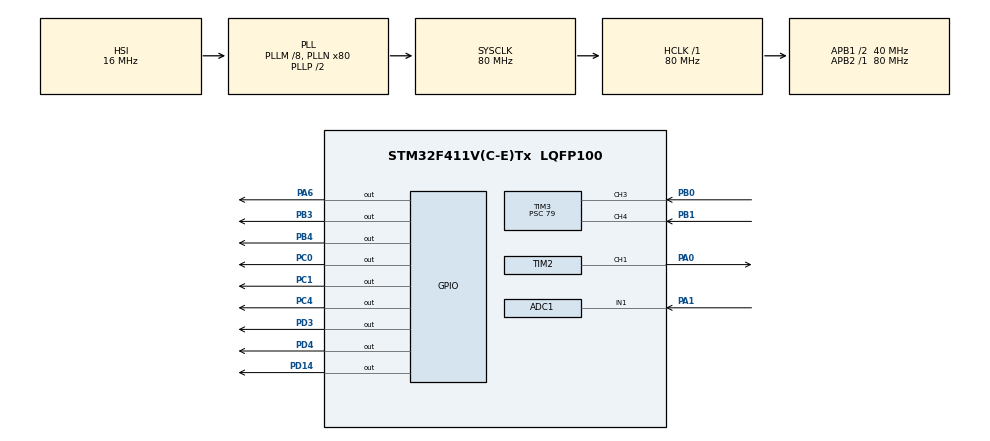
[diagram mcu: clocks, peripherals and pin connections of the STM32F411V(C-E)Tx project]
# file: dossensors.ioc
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ADC1.Channel-0\#ChannelRegularConversion=ADC_CHANNEL_1
ADC1.ContinuousConvMode=ENABLE
ADC1.DMAContinuousRequests=ENABLE
ADC1.NbrOfConversionFlag=1
ADC1.Rank-0\#ChannelRegularConversion=1
ADC1.SamplingTime-0\#ChannelRegularConversion=ADC_SAMPLETIME_28CYCLES
ADC1.master=1
Dma.ADC1.0.Direction=DMA_PERIPH_TO_MEMORY
Dma.ADC1.0.FIFOMode=DMA_FIFOMODE_DISABLE
Dma.ADC1.0.Instance=DMA2_Stream0
Dma.ADC1.0.MemDataAlignment=DMA_MDATAALIGN_WORD
Dma.ADC1.0.MemInc=DMA_MINC_ENABLE
Dma.ADC1.0.Mode=DMA_CIRCULAR
Dma.ADC1.0.PeriphDataAlignment=DMA_PDATAALIGN_WORD
Dma.ADC1.0.PeriphInc=DMA_PINC_DISABLE
Dma.ADC1.0.Priority=DMA_PRIORITY_LOW
Dma.Request0=ADC1
Mcu.Family=STM32F4
Mcu.Name=STM32F411V(C-E)Tx
Mcu.Package=LQFP100
NVIC.ADC_IRQn=true\:0\:0\:false\:false\:true\:true\:true\:true
NVIC.DMA2_Stream0_IRQn=true\:0\:0\:false\:false\:true\:false\:true\:true
NVIC.PriorityGroup=NVIC_PRIORITYGROUP_0
NVIC.TIM3_IRQn=true\:0\:0\:false\:false\:true\:true\:true\:true
PA0-WKUP.Signal=S_TIM2_CH1_ETR
PA1.Signal=ADCx_IN1
PA6.Signal=GPIO_Output
PB0.Signal=S_TIM3_CH3
PB1.Signal=S_TIM3_CH4
PB3.Signal=GPIO_Output
PB4.Signal=GPIO_Output
PC0.Signal=GPIO_Output
PC1.Signal=GPIO_Output
PC4.Signal=GPIO_Output
PD14.Signal=GPIO_Output
PD3.Signal=GPIO_Output
PD4.Signal=GPIO_Output
ProjectManager.HeapSize=0x200
ProjectManager.StackSize=0x400
ProjectManager.TargetToolchain=STM32CubeIDE
RCC.48MHZClocksFreq_Value=20000000
RCC.AHBFreq_Value=80000000
RCC.APB1CLKDivider=RCC_HCLK_DIV2
RCC.APB1Freq_Value=40000000
RCC.APB1TimFreq_Value=80000000
RCC.APB2Freq_Value=80000000
RCC.APB2TimFreq_Value=80000000
RCC.CortexFreq_Value=80000000
RCC.HCLKFreq_Value=80000000
RCC.HSE_VALUE=8000000
RCC.HSI_VALUE=16000000
RCC.LSE_VALUE=32768
RCC.PLLI2SM=5
RCC.PLLI2SN=200
RCC.PLLM=8
RCC.PLLN=80
RCC.PLLQ=8
RCC.SYSCLKFreq_VALUE=80000000
RCC.SYSCLKSource=RCC_SYSCLKSOURCE_PLLCLK
RCC.VCOOutputFreq_Value=160000000
SH.ADCx_IN1.0=ADC1_IN1,IN1
SH.S_TIM2_CH1_ETR.0=TIM2_CH1,PWM Generation1 CH1
SH.S_TIM3_CH3.0=TIM3_CH3,Input_Capture3_from_TI3
SH.S_TIM3_CH4.0=TIM3_CH4,Input_Capture4_from_TI4
TIM2.Channel-PWM\ Generation1\ CH1=TIM_CHANNEL_1
TIM2.Period=20000-1
TIM2.Prescaler=79
TIM3.Channel-Input_Capture3_from_TI3=TIM_CHANNEL_3
TIM3.Channel-Input_Capture4_from_TI4=TIM_CHANNEL_4
TIM3.Period=0xFFFF
TIM3.Prescaler=79
VP_TIM2_VS_ClockSourceINT.Mode=Internal
VP_TIM3_VS_ClockSourceINT.Mode=Internal
board=STM32F411E-DISCO

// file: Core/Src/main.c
/* USER CODE BEGIN Header */
/**
  ******************************************************************************
  * @file           : main.c
  * @brief          : Main program body
  ******************************************************************************
  * @attention
  *
  * Copyright (c) 2025 STMicroelectronics.
  * All rights reserved.
  *
  * This software is licensed under terms that can be found in the LICENSE file
  * in the root directory of this software component.
  * If no LICENSE file comes with this software, it is provided AS-IS.
  *
  ******************************************************************************
  */
/* USER CODE END Header */
#include "main.h"

ADC_HandleTypeDef hadc1;
DMA_HandleTypeDef hdma_adc1;

TIM_HandleTypeDef htim2;
TIM_HandleTypeDef htim3;

/* USER CODE BEGIN PV */
uint32_t adc_buffer[1]; // Buffer para almacenar los valores de ADC

TIM_HandleTypeDef htim2;
TIM_HandleTypeDef htim3;

/* USER CODE BEGIN PV */

/* USER CODE END PV */

void SystemClock_Config(void);
static void MX_GPIO_Init(void);
static void MX_DMA_Init(void);
static void MX_TIM3_Init(void);
static void MX_TIM2_Init(void);
static void MX_ADC1_Init(void);

/* USER CODE BEGIN 0 */
volatile uint32_t valor1 = 0, valor2 = 0, periodo = 0;
volatile uint8_t es_pv = 0;
int distancia = 0;

volatile uint32_t valor1s = 0, valor2s = 0, periodos = 0;
volatile uint8_t es_pvs = 0;
int distanciaSalida = 0;

int angulo=0;

/**
 * @brief Callback de interrupción para la captura de pulsos de los timers.
 * @param htim Puntero al handler del timer que genera la interrupción.
 */

void HAL_TIM_IC_CaptureCallback(TIM_HandleTypeDef *htim) {
    if (htim->Channel == HAL_TIM_ACTIVE_CHANNEL_4) {
        if (es_pv == 0) {
            valor1 = HAL_TIM_ReadCapturedValue(htim, TIM_CHANNEL_4);// Captura el primer valor (flanco de subida)
            es_pv = 1;
            __HAL_TIM_SET_CAPTUREPOLARITY(htim, TIM_CHANNEL_4, TIM_INPUTCHANNELPOLARITY_FALLING);// Cambia al flanco de bajada
        } else {
            valor2 = HAL_TIM_ReadCapturedValue(htim, TIM_CHANNEL_4);// Captura el segundo valor (flanco de bajada)
            __HAL_TIM_SET_COUNTER(htim, 0);// Reinicia el contador del timer
            if (valor2 > valor1) {
                periodo = valor2 - valor1;//Calcula el periodo.
            }
            es_pv = 0;
            __HAL_TIM_SET_CAPTUREPOLARITY(htim, TIM_CHANNEL_4, TIM_INPUTCHANNELPOLARITY_RISING);// Vuelve a cambiar al flanco de subida
        }
    }else if (htim->Channel == HAL_TIM_ACTIVE_CHANNEL_3) {
        if (es_pvs == 0) {
            valor1s = HAL_TIM_ReadCapturedValue(htim, TIM_CHANNEL_3);
            es_pvs = 1;
            __HAL_TIM_SET_CAPTUREPOLARITY(htim, TIM_CHANNEL_3, TIM_INPUTCHANNELPOLARITY_FALLING);
        } else {
            valor2s = HAL_TIM_ReadCapturedValue(htim, TIM_CHANNEL_3);
            __HAL_TIM_SET_COUNTER(htim, 0);
            if (valor2s > valor1s) {
                periodos = valor2s - valor1s;
            }
            es_pvs = 0;
            __HAL_TIM_SET_CAPTUREPOLARITY(htim, TIM_CHANNEL_3, TIM_INPUTCHANNELPOLARITY_RISING);
        }
    }
}
/**
 * @brief Genera un pulso para activar los sensores ultrasonido de entrada y salida.
 */
void Trigger_HCSR04(void) {
    HAL_GPIO_WritePin(GPIOC, GPIO_PIN_4, GPIO_PIN_SET);
    HAL_Delay(10);
    HAL_GPIO_WritePin(GPIOC, GPIO_PIN_4, GPIO_PIN_RESET);
}
void Trigger_HCSR04Salida(void) {
    HAL_GPIO_WritePin(GPIOA, GPIO_PIN_6, GPIO_PIN_SET);
    HAL_Delay(10);
    HAL_GPIO_WritePin(GPIOA, GPIO_PIN_6, GPIO_PIN_RESET);
}
/**
 * @brief Calcula la distancia detectada por los sensores de entrada y salida.
 */

void CalcularDistancia(void) {
    distancia = periodo / 58;
}
void CalcularDistanciaSalida(void) {
    distanciaSalida = periodos / 58;
}
/**
 * @brief Mueve el motor a un ángulo específico.
 * @param angulo Ángulo al que se desea mover el motor (0-180 grados).
 */

void mover_motor(int angulo) {
      int pulso_min = 500;
      int pulso_max = 2500;

      int pulso = pulso_min + ((pulso_max - pulso_min) * angulo) / 180;

      int periodo_timer = 20000;// Periodo del PWM en microsegundos porque el motor funciona a 50Hz
      int compare_value = (pulso * __HAL_TIM_GET_AUTORELOAD(&htim2)) / periodo_timer;// Calcula el valor de comparación

      __HAL_TIM_SET_COMPARE(&htim2, TIM_CHANNEL_1, compare_value);// Actualiza el valor del pulso
  }

/* USER CODE END 0 */

int main(void)
{

  /* MCU Configuration--------------------------------------------------------*/

  /* Reset of all peripherals, Initializes the Flash interface and the Systick. */
  HAL_Init();

  /* Configure the system clock */
  SystemClock_Config();

  /* Initialize all configured peripherals */
  MX_GPIO_Init();
  MX_DMA_Init();
  MX_TIM3_Init();
  MX_TIM2_Init();
  MX_ADC1_Init();
  /* USER CODE BEGIN 2 */
  HAL_TIM_IC_Start_IT(&htim3, TIM_CHANNEL_4);// Habilita la captura de entrada con interrupción (sensor de entrada)
  HAL_TIM_IC_Start_IT(&htim3, TIM_CHANNEL_3);// Habilita la captura de entrada con interrupción (sensor de salida)
  HAL_TIM_PWM_Start(&htim2, TIM_CHANNEL_1);// Inicia el PWM para el motor
  HAL_ADC_Start_DMA(&hadc1, adc_buffer, 1);// Inicia la conversión ADC con DMA
  /* USER CODE END 2 */

  /* Infinite loop */
  while (1)
  {

    /* USER CODE BEGIN 3 */
	       if (adc_buffer[0] < 1450)
	      {
	        HAL_GPIO_WritePin(GPIOD, GPIO_PIN_14, GPIO_PIN_SET);// Encender LED
	      }
	      else
	      {
	        HAL_GPIO_WritePin(GPIOD, GPIO_PIN_14, GPIO_PIN_RESET); // Apagar LED
	      }
	  	  Trigger_HCSR04();
	      Trigger_HCSR04Salida();
	  	  CalcularDistancia();
	  	  CalcularDistanciaSalida();
	  	  if (distancia < 25) {
	  	          HAL_GPIO_WritePin(GPIOC, GPIO_PIN_0, GPIO_PIN_SET);
	  	          HAL_GPIO_WritePin(GPIOB, GPIO_PIN_4, GPIO_PIN_SET);
	  	          HAL_GPIO_WritePin(GPIOD, GPIO_PIN_3, GPIO_PIN_RESET);
	  	          HAL_GPIO_WritePin(GPIOD, GPIO_PIN_4, GPIO_PIN_RESET);
	  	          mover_motor(90);
	  	          HAL_Delay(3000);
	  	      } else {
	  	          HAL_GPIO_WritePin(GPIOC, GPIO_PIN_0, GPIO_PIN_RESET);
	  	          HAL_GPIO_WritePin(GPIOB, GPIO_PIN_4, GPIO_PIN_RESET);
	  	          HAL_GPIO_WritePin(GPIOD, GPIO_PIN_3, GPIO_PIN_SET);
	  	          HAL_GPIO_WritePin(GPIOD, GPIO_PIN_4, GPIO_PIN_SET);
	  	          mover_motor(0);
	  	          if (distanciaSalida < 25) {
	  		          HAL_GPIO_WritePin(GPIOC, GPIO_PIN_1, GPIO_PIN_SET);
	  		          HAL_GPIO_WritePin(GPIOB, GPIO_PIN_3, GPIO_PIN_SET);
	  		          HAL_GPIO_WritePin(GPIOD, GPIO_PIN_3, GPIO_PIN_RESET);
	  		          HAL_GPIO_WritePin(GPIOD, GPIO_PIN_4, GPIO_PIN_RESET);
	  		          mover_motor(90);
	  		          HAL_Delay(3000);
	  		      } else {
	  		          HAL_GPIO_WritePin(GPIOC, GPIO_PIN_1, GPIO_PIN_RESET);
	  		          HAL_GPIO_WritePin(GPIOB, GPIO_PIN_3, GPIO_PIN_RESET);
	  		          mover_motor(0);
	  		      }
	  	      }
  }
  /* USER CODE END 3 */
}

void SystemClock_Config(void)
{
  RCC_OscInitTypeDef RCC_OscInitStruct = {0};
  RCC_ClkInitTypeDef RCC_ClkInitStruct = {0};

  /** Configure the main internal regulator output voltage
  */
  __HAL_RCC_PWR_CLK_ENABLE();
  __HAL_PWR_VOLTAGESCALING_CONFIG(PWR_REGULATOR_VOLTAGE_SCALE1);

  /** Initializes the RCC Oscillators according to the specified parameters
  * in the RCC_OscInitTypeDef structure.
  */
  RCC_OscInitStruct.OscillatorType = RCC_OSCILLATORTYPE_HSI;
  RCC_OscInitStruct.HSIState = RCC_HSI_ON;
  RCC_OscInitStruct.HSICalibrationValue = RCC_HSICALIBRATION_DEFAULT;
  RCC_OscInitStruct.PLL.PLLState = RCC_PLL_ON;
  RCC_OscInitStruct.PLL.PLLSource = RCC_PLLSOURCE_HSI;
  RCC_OscInitStruct.PLL.PLLM = 8;
  RCC_OscInitStruct.PLL.PLLN = 80;
  RCC_OscInitStruct.PLL.PLLP = RCC_PLLP_DIV2;
  RCC_OscInitStruct.PLL.PLLQ = 8;
  if (HAL_RCC_OscConfig(&RCC_OscInitStruct) != HAL_OK)
  {
    Error_Handler();
  }

  /** Initializes the CPU, AHB and APB buses clocks
  */
  RCC_ClkInitStruct.ClockType = RCC_CLOCKTYPE_HCLK|RCC_CLOCKTYPE_SYSCLK
                              |RCC_CLOCKTYPE_PCLK1|RCC_CLOCKTYPE_PCLK2;
  RCC_ClkInitStruct.SYSCLKSource = RCC_SYSCLKSOURCE_PLLCLK;
  RCC_ClkInitStruct.AHBCLKDivider = RCC_SYSCLK_DIV1;
  RCC_ClkInitStruct.APB1CLKDivider = RCC_HCLK_DIV2;
  RCC_ClkInitStruct.APB2CLKDivider = RCC_HCLK_DIV1;

  if (HAL_RCC_ClockConfig(&RCC_ClkInitStruct, FLASH_LATENCY_2) != HAL_OK)
  {
    Error_Handler();
  }
}

static void MX_ADC1_Init(void)
{

  ADC_ChannelConfTypeDef sConfig = {0};

  /** Configure the global features of the ADC (Clock, Resolution, Data Alignment and number of conversion)
  */
  hadc1.Instance = ADC1;
  hadc1.Init.ClockPrescaler = ADC_CLOCK_SYNC_PCLK_DIV4;
  hadc1.Init.Resolution = ADC_RESOLUTION_12B;
  hadc1.Init.ScanConvMode = DISABLE;
  hadc1.Init.ContinuousConvMode = ENABLE;
  hadc1.Init.DiscontinuousConvMode = DISABLE;
  hadc1.Init.ExternalTrigConvEdge = ADC_EXTERNALTRIGCONVEDGE_NONE;
  hadc1.Init.ExternalTrigConv = ADC_SOFTWARE_START;
  hadc1.Init.DataAlign = ADC_DATAALIGN_RIGHT;
  hadc1.Init.NbrOfConversion = 1;
  hadc1.Init.DMAContinuousRequests = ENABLE;
  hadc1.Init.EOCSelection = ADC_EOC_SINGLE_CONV;
  if (HAL_ADC_Init(&hadc1) != HAL_OK)
  {
    Error_Handler();
  }

  /** Configure for the selected ADC regular channel its corresponding rank in the sequencer and its sample time.
  */
  sConfig.Channel = ADC_CHANNEL_1;
  sConfig.Rank = 1;
  sConfig.SamplingTime = ADC_SAMPLETIME_28CYCLES;
  if (HAL_ADC_ConfigChannel(&hadc1, &sConfig) != HAL_OK)
  {
    Error_Handler();
  }

}

static void MX_TIM2_Init(void)
{

  TIM_ClockConfigTypeDef sClockSourceConfig = {0};
  TIM_MasterConfigTypeDef sMasterConfig = {0};
  TIM_OC_InitTypeDef sConfigOC = {0};

  htim2.Instance = TIM2;
  htim2.Init.Prescaler = 79;
  htim2.Init.CounterMode = TIM_COUNTERMODE_UP;
  htim2.Init.Period = 20000-1;
  htim2.Init.ClockDivision = TIM_CLOCKDIVISION_DIV1;
  htim2.Init.AutoReloadPreload = TIM_AUTORELOAD_PRELOAD_DISABLE;
  if (HAL_TIM_Base_Init(&htim2) != HAL_OK)
  {
    Error_Handler();
  }
  sClockSourceConfig.ClockSource = TIM_CLOCKSOURCE_INTERNAL;
  if (HAL_TIM_ConfigClockSource(&htim2, &sClockSourceConfig) != HAL_OK)
  {
    Error_Handler();
  }
  if (HAL_TIM_PWM_Init(&htim2) != HAL_OK)
  {
    Error_Handler();
  }
  sMasterConfig.MasterOutputTrigger = TIM_TRGO_RESET;
  sMasterConfig.MasterSlaveMode = TIM_MASTERSLAVEMODE_DISABLE;
  if (HAL_TIMEx_MasterConfigSynchronization(&htim2, &sMasterConfig) != HAL_OK)
  {
    Error_Handler();
  }
  sConfigOC.OCMode = TIM_OCMODE_PWM1;
  sConfigOC.Pulse = 0;
  sConfigOC.OCPolarity = TIM_OCPOLARITY_HIGH;
  sConfigOC.OCFastMode = TIM_OCFAST_DISABLE;
  if (HAL_TIM_PWM_ConfigChannel(&htim2, &sConfigOC, TIM_CHANNEL_1) != HAL_OK)
  {
    Error_Handler();
  }
  HAL_TIM_MspPostInit(&htim2);

}

static void MX_TIM3_Init(void)
{

  TIM_ClockConfigTypeDef sClockSourceConfig = {0};
  TIM_MasterConfigTypeDef sMasterConfig = {0};
  TIM_IC_InitTypeDef sConfigIC = {0};

  htim3.Instance = TIM3;
  htim3.Init.Prescaler = 79;
  htim3.Init.CounterMode = TIM_COUNTERMODE_UP;
  htim3.Init.Period = 0xFFFF;
  htim3.Init.ClockDivision = TIM_CLOCKDIVISION_DIV1;
  htim3.Init.AutoReloadPreload = TIM_AUTORELOAD_PRELOAD_DISABLE;
  if (HAL_TIM_Base_Init(&htim3) != HAL_OK)
  {
    Error_Handler();
  }
  sClockSourceConfig.ClockSource = TIM_CLOCKSOURCE_INTERNAL;
  if (HAL_TIM_ConfigClockSource(&htim3, &sClockSourceConfig) != HAL_OK)
  {
    Error_Handler();
  }
  if (HAL_TIM_IC_Init(&htim3) != HAL_OK)
  {
    Error_Handler();
  }
  sMasterConfig.MasterOutputTrigger = TIM_TRGO_RESET;
  sMasterConfig.MasterSlaveMode = TIM_MASTERSLAVEMODE_DISABLE;
  if (HAL_TIMEx_MasterConfigSynchronization(&htim3, &sMasterConfig) != HAL_OK)
  {
    Error_Handler();
  }
  sConfigIC.ICPolarity = TIM_INPUTCHANNELPOLARITY_RISING;
  sConfigIC.ICSelection = TIM_ICSELECTION_DIRECTTI;
  sConfigIC.ICPrescaler = TIM_ICPSC_DIV1;
  sConfigIC.ICFilter = 0;
  if (HAL_TIM_IC_ConfigChannel(&htim3, &sConfigIC, TIM_CHANNEL_3) != HAL_OK)
  {
    Error_Handler();
  }
  if (HAL_TIM_IC_ConfigChannel(&htim3, &sConfigIC, TIM_CHANNEL_4) != HAL_OK)
  {
    Error_Handler();
  }

}

static void MX_DMA_Init(void)
{

  /* DMA controller clock enable */
  __HAL_RCC_DMA2_CLK_ENABLE();

  /* DMA interrupt init */
  /* DMA2_Stream0_IRQn interrupt configuration */
  HAL_NVIC_SetPriority(DMA2_Stream0_IRQn, 0, 0);
  HAL_NVIC_EnableIRQ(DMA2_Stream0_IRQn);

}

static void MX_GPIO_Init(void)
{
  GPIO_InitTypeDef GPIO_InitStruct = {0};

  /* GPIO Ports Clock Enable */
  __HAL_RCC_GPIOC_CLK_ENABLE();
  __HAL_RCC_GPIOA_CLK_ENABLE();
  __HAL_RCC_GPIOB_CLK_ENABLE();
  __HAL_RCC_GPIOD_CLK_ENABLE();

  /*Configure GPIO pin Output Level */
  HAL_GPIO_WritePin(GPIOC, GPIO_PIN_0|GPIO_PIN_1|GPIO_PIN_4, GPIO_PIN_RESET);

  /*Configure GPIO pin Output Level */
  HAL_GPIO_WritePin(GPIOA, GPIO_PIN_6, GPIO_PIN_RESET);

  /*Configure GPIO pin Output Level */
  HAL_GPIO_WritePin(GPIOD, GPIO_PIN_14|GPIO_PIN_3|GPIO_PIN_4, GPIO_PIN_RESET);

  /*Configure GPIO pin Output Level */
  HAL_GPIO_WritePin(GPIOB, GPIO_PIN_3|GPIO_PIN_4, GPIO_PIN_RESET);

  /*Configure GPIO pins : PC0 PC1 PC4 */
  GPIO_InitStruct.Pin = GPIO_PIN_0|GPIO_PIN_1|GPIO_PIN_4;
  GPIO_InitStruct.Mode = GPIO_MODE_OUTPUT_PP;
  GPIO_InitStruct.Pull = GPIO_NOPULL;
  GPIO_InitStruct.Speed = GPIO_SPEED_FREQ_LOW;
  HAL_GPIO_Init(GPIOC, &GPIO_InitStruct);

  /*Configure GPIO pin : PA6 */
  GPIO_InitStruct.Pin = GPIO_PIN_6;
  GPIO_InitStruct.Mode = GPIO_MODE_OUTPUT_PP;
  GPIO_InitStruct.Pull = GPIO_NOPULL;
  GPIO_InitStruct.Speed = GPIO_SPEED_FREQ_LOW;
  HAL_GPIO_Init(GPIOA, &GPIO_InitStruct);

  /*Configure GPIO pins : PD14 PD3 PD4 */
  GPIO_InitStruct.Pin = GPIO_PIN_14|GPIO_PIN_3|GPIO_PIN_4;
  GPIO_InitStruct.Mode = GPIO_MODE_OUTPUT_PP;
  GPIO_InitStruct.Pull = GPIO_NOPULL;
  GPIO_InitStruct.Speed = GPIO_SPEED_FREQ_LOW;
  HAL_GPIO_Init(GPIOD, &GPIO_InitStruct);

  /*Configure GPIO pins : PB3 PB4 */
  GPIO_InitStruct.Pin = GPIO_PIN_3|GPIO_PIN_4;
  GPIO_InitStruct.Mode = GPIO_MODE_OUTPUT_PP;
  GPIO_InitStruct.Pull = GPIO_NOPULL;
  GPIO_InitStruct.Speed = GPIO_SPEED_FREQ_LOW;
  HAL_GPIO_Init(GPIOB, &GPIO_InitStruct);

}

void Error_Handler(void)
{
  __disable_irq();
  while (1)
  {
  }
}
